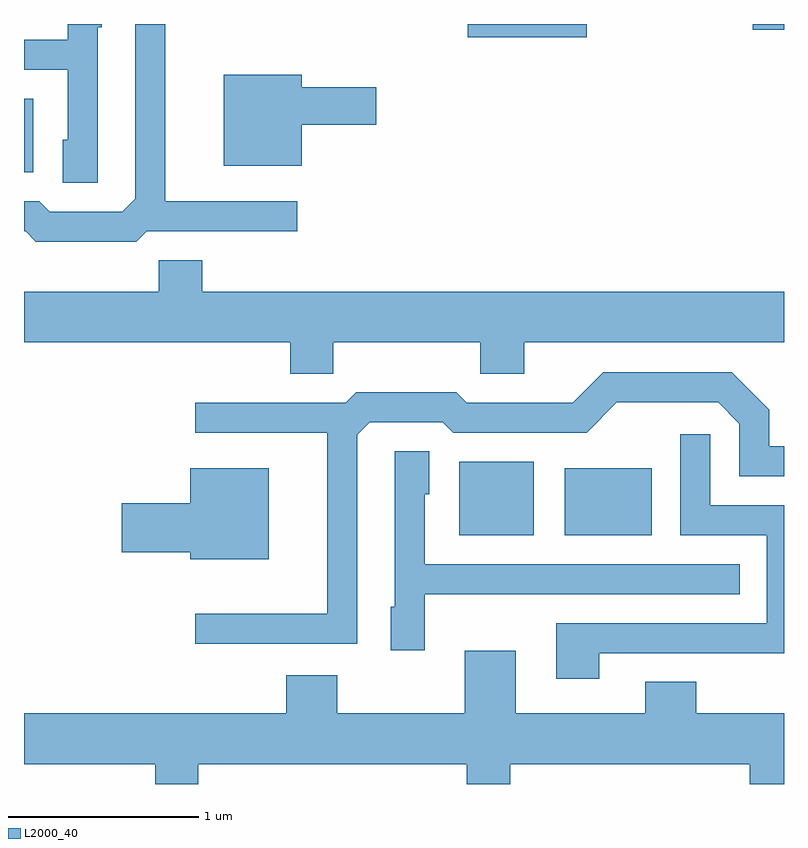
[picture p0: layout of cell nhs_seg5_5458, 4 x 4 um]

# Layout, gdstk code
import gdstk
lib = gdstk.Library(unit=1e-6, precision=1e-09)
def R(c, l, rs):  # rectangles x0, y0, x1, y1
    for r in rs: c.add(gdstk.rectangle(r[:2], r[2:], *l))
def P(c, l, *ps):  # polygons
    for p in ps: c.add(gdstk.Polygon(p, *l))
L2000_40 = (2000, 40)

nhs_seg5_5458 = lib.new_cell('nhs_seg5_5458')
R(nhs_seg5_5458, L2000_40, [(349.901,1411.381,350.294,1411.769), (350.456,1411.381,350.914,1411.734), (347.611,1413.291,347.659,1413.679), (349.946,1414.001,350.574,1414.072), (351.446,1414.041,351.611,1414.072)])
P(nhs_seg5_5458, L2000_40, [(348.257,1412.981),(349.048,1412.981),(349.048,1413.139),(348.354,1413.139),(348.354,1414.072),(348.196,1414.072),(348.196,1413.152),(348.129,1413.084),(347.747,1413.084),(347.692,1413.139),(347.611,1413.139),(347.611,1412.981),(347.619,1412.981),(347.674,1412.926),(348.202,1412.926)],
  [(347.999,1414.056),(348.019,1414.056),(348.019,1414.072),(347.841,1414.072),(347.841,1413.989),(347.611,1413.989),(347.611,1413.831),(347.841,1413.831),(347.841,1413.464),(347.816,1413.464),(347.816,1413.236),(347.999,1413.236)],
  [(349.074,1413.541),(349.464,1413.541),(349.464,1413.739),(349.074,1413.739),(349.074,1413.804),(348.661,1413.804),(348.661,1413.326),(349.074,1413.326)],
  [(349.239,1412.396),(350.011,1412.396),(350.011,1412.231),(350.244,1412.231),(350.244,1412.396),(351.611,1412.396),(351.611,1412.664),(348.549,1412.664),(348.549,1412.829),(348.321,1412.829),(348.321,1412.664),(347.611,1412.664),(347.611,1412.396),(349.011,1412.396),(349.011,1412.231),(349.239,1412.231)],
  [(349.364,1411.909),(349.432,1411.976),(349.814,1411.976),(349.869,1411.921),(350.572,1411.921),(350.732,1412.081),(351.264,1412.081),(351.376,1411.969),(351.376,1411.691),(351.611,1411.691),(351.611,1411.849),(351.534,1411.849),(351.534,1412.042),(351.337,1412.239),(350.659,1412.239),(350.499,1412.079),(349.942,1412.079),(349.887,1412.134),(349.359,1412.134),(349.304,1412.079),(348.513,1412.079),(348.513,1411.921),(349.206,1411.921),(349.206,1410.969),(348.513,1410.969),(348.513,1410.811),(349.364,1410.811)],
  [(350.639,1410.761),(351.611,1410.761),(351.611,1411.539),(351.224,1411.539),(351.224,1411.913),(351.066,1411.913),(351.066,1411.381),(351.521,1411.381),(351.521,1410.919),(350.411,1410.919),(350.411,1410.626),(350.639,1410.626)],
  [(349.719,1411.071),(351.378,1411.071),(351.378,1411.229),(349.719,1411.229),(349.719,1411.596),(349.744,1411.596),(349.744,1411.824),(349.561,1411.824),(349.561,1411.004),(349.541,1411.004),(349.541,1410.776),(349.719,1410.776)],
  [(348.899,1411.734),(348.486,1411.734),(348.486,1411.549),(348.126,1411.549),(348.126,1411.291),(348.486,1411.291),(348.486,1411.256),(348.899,1411.256)],
  [(348.529,1410.176),(349.941,1410.176),(349.941,1410.072),(350.169,1410.072),(350.169,1410.176),(351.431,1410.176),(351.431,1410.072),(351.611,1410.072),(351.611,1410.444),(351.149,1410.444),(351.149,1410.609),(350.881,1410.609),(350.881,1410.444),(350.199,1410.444),(350.199,1410.774),(349.931,1410.774),(349.931,1410.444),(349.259,1410.444),(349.259,1410.644),(348.991,1410.644),(348.991,1410.444),(347.611,1410.444),(347.611,1410.176),(348.301,1410.176),(348.301,1410.072),(348.529,1410.072)])

lib.write_gds('nhs_seg5_5458.gds')
